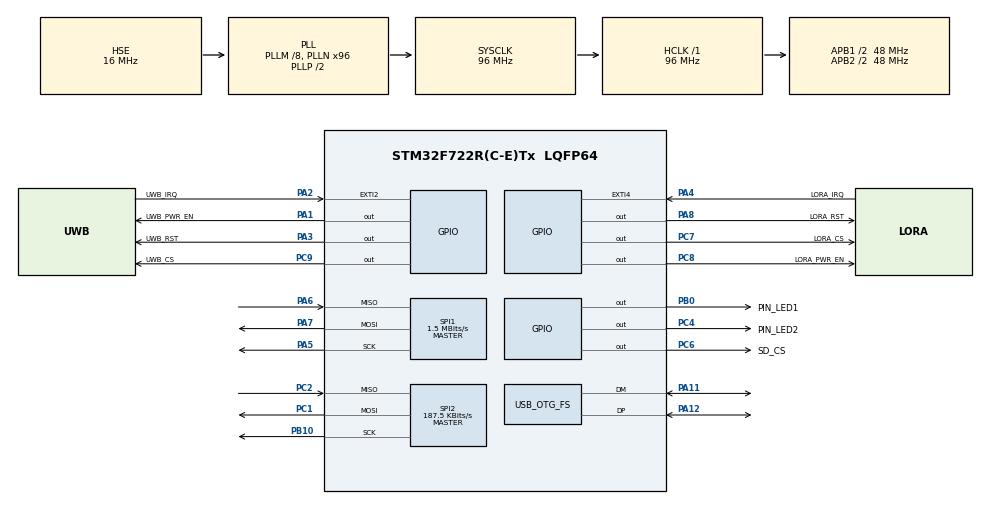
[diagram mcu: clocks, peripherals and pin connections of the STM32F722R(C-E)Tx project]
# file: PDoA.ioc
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Mcu.Family=STM32F7
Mcu.Name=STM32F722R(C-E)Tx
Mcu.Package=LQFP64
NVIC.EXTI2_IRQn=true\:0\:0\:false\:false\:true\:true\:true\:true
NVIC.EXTI4_IRQn=true\:0\:0\:false\:false\:true\:true\:true\:true
NVIC.OTG_FS_IRQn=true\:0\:0\:false\:false\:true\:false\:true\:true
NVIC.PriorityGroup=NVIC_PRIORITYGROUP_4
PA1.GPIO_Label=UWB_PWR_EN
PA1.Signal=GPIO_Output
PA11.Mode=Device_Only
PA11.Signal=USB_OTG_FS_DM
PA12.Mode=Device_Only
PA12.Signal=USB_OTG_FS_DP
PA13.Mode=Serial_Wire
PA13.Signal=SYS_JTMS-SWDIO
PA14.Mode=Serial_Wire
PA14.Signal=SYS_JTCK-SWCLK
PA2.GPIO_Label=UWB_IRQ
PA2.Signal=GPXTI2
PA3.GPIO_Label=UWB_RST
PA3.Signal=GPIO_Output
PA4.GPIO_Label=LORA_IRQ
PA4.GPIO_PuPd=GPIO_PULLDOWN
PA4.Signal=GPXTI4
PA5.Mode=Full_Duplex_Master
PA5.Signal=SPI1_SCK
PA6.Mode=Full_Duplex_Master
PA6.Signal=SPI1_MISO
PA7.Mode=Full_Duplex_Master
PA7.Signal=SPI1_MOSI
PA8.GPIO_Label=LORA_RST
PA8.PinState=GPIO_PIN_RESET
PA8.Signal=GPIO_Output
PB0.GPIO_Label=PIN_LED1
PB0.Signal=GPIO_Output
PB10.GPIO_PuPd=GPIO_PULLUP
PB10.Mode=Full_Duplex_Master
PB10.Signal=SPI2_SCK
PC1.GPIO_PuPd=GPIO_PULLUP
PC1.Mode=Full_Duplex_Master
PC1.Signal=SPI2_MOSI
PC14-OSC32_IN.Mode=LSE-External-Oscillator
PC14-OSC32_IN.Signal=RCC_OSC32_IN
PC15-OSC32_OUT.Mode=LSE-External-Oscillator
PC15-OSC32_OUT.Signal=RCC_OSC32_OUT
PC2.GPIO_PuPd=GPIO_PULLUP
PC2.Mode=Full_Duplex_Master
PC2.Signal=SPI2_MISO
PC4.GPIO_Label=PIN_LED2
PC4.Signal=GPIO_Output
PC6.GPIO_Label=SD_CS
PC6.GPIO_PuPd=GPIO_PULLUP
PC6.PinState=GPIO_PIN_SET
PC6.Signal=GPIO_Output
PC7.GPIO_Label=LORA_CS
PC7.PinState=GPIO_PIN_SET
PC7.Signal=GPIO_Output
PC8.GPIO_Label=LORA_PWR_EN
PC8.Signal=GPIO_Output
PC9.GPIO_Label=UWB_CS
PC9.PinState=GPIO_PIN_SET
PC9.Signal=GPIO_Output
PH0-OSC_IN.Mode=HSE-External-Oscillator
PH0-OSC_IN.Signal=RCC_OSC_IN
PH1-OSC_OUT.Mode=HSE-External-Oscillator
PH1-OSC_OUT.Signal=RCC_OSC_OUT
ProjectManager.HeapSize=0x200
ProjectManager.StackSize=0x400
ProjectManager.TargetToolchain=STM32CubeIDE
RCC.AHBFreq_Value=96000000
RCC.APB1CLKDivider=RCC_HCLK_DIV2
RCC.APB1Freq_Value=48000000
RCC.APB1TimFreq_Value=96000000
RCC.APB2CLKDivider=RCC_HCLK_DIV2
RCC.APB2Freq_Value=48000000
RCC.APB2TimFreq_Value=96000000
RCC.CortexFreq_Value=96000000
RCC.HCLKFreq_Value=96000000
RCC.HSE_VALUE=16000000
RCC.HSI_VALUE=16000000
RCC.PLLM=8
RCC.PLLN=96
RCC.PLLQ=4
RCC.PWREXT_OverDrive=PWREXT_OverDrive_ACTIVATED
RCC.PWR_Regulator_Voltage_Scale=PWR_REGULATOR_VOLTAGE_SCALE1
RCC.SYSCLKFreq_VALUE=96000000
RCC.SYSCLKSource=RCC_SYSCLKSOURCE_PLLCLK
RCC.USBFreq_Value=48000000
RCC.VCOOutputFreq_Value=192000000
SPI1.BaudRatePrescaler=SPI_BAUDRATEPRESCALER_32
SPI1.CalculateBaudRate=1.5 MBits/s
SPI1.DataSize=SPI_DATASIZE_8BIT
SPI1.Direction=SPI_DIRECTION_2LINES
SPI1.Mode=SPI_MODE_MASTER
SPI1.VirtualType=VM_MASTER
SPI2.BaudRatePrescaler=SPI_BAUDRATEPRESCALER_256
SPI2.CalculateBaudRate=187.5 KBits/s
SPI2.DataSize=SPI_DATASIZE_8BIT
SPI2.Direction=SPI_DIRECTION_2LINES
SPI2.Mode=SPI_MODE_MASTER
SPI2.VirtualType=VM_MASTER
USB_DEVICE.CLASS_NAME_FS=CDC
USB_DEVICE.VirtualMode-CDC_FS=Cdc
USB_DEVICE.VirtualModeFS=Cdc_FS
USB_OTG_FS.VirtualMode=Device_Only
VP_USB_DEVICE_VS_USB_DEVICE_CDC_FS.Mode=CDC_FS
board=custom

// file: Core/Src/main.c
/* USER CODE BEGIN Header */
/**
  ******************************************************************************
  * @file           : main.c
  * @brief          : Main program body
  ******************************************************************************
  * @attention
  *
  * Copyright (c) 2025 STMicroelectronics.
  * All rights reserved.
  *
  * This software is licensed under terms that can be found in the LICENSE file
  * in the root directory of this software component.
  * If no LICENSE file comes with this software, it is provided AS-IS.
  *
  ******************************************************************************
  */
/* USER CODE END Header */
#include <main.h>
#include "usb_device.h"

/* USER CODE BEGIN Includes */
#include <errno.h>

#include "PDoA_FZ.h"
#include "DW3000_FZ.h"
#include "DW3000_send_test_FZ.h"
#include "DW3000_recv_test_FZ.h"

/* USER CODE END Includes */

/* USER CODE BEGIN PTD */
/* Default communication configuration. We use default non-STS DW mode. */
static dwt_config_t config = {
  5,               /* Channel number. */
  DWT_PLEN_128,    /* Preamble length. Used in TX only. */
  DWT_PAC8,        /* Preamble acquisition chunk size. Used in RX only. */
  9,               /* TX preamble code. Used in TX only. */
  9,               /* RX preamble code. Used in RX only. */
  1,               /* 0 to use standard 8 symbol SFD, 1 to use non-standard 8 symbol, 2 for non-standard 16 symbol SFD and 3 for 4z 8 symbol SDF type */
  DWT_BR_6M8,      /* Data rate. */
  DWT_PHRMODE_STD, /* PHY header mode. */
  DWT_PHRRATE_STD, /* PHY header rate. */
  (129 + 8 - 8),   /* SFD timeout (preamble length + 1 + SFD length - PAC size). Used in RX only. */
  (DWT_STS_MODE_1 | DWT_STS_MODE_SDC),
  DWT_STS_LEN_256, /* STS length, see allowed values in Enum dwt_sts_lengths_e. USE 128 for PDoA mode 3 */
  DWT_PDOA_M3      /* PDOA mode 3 */
};

/* Buffer to store received frame. See NOTE 1 below. */
//static uint8_t rx_buffer[FRAME_LEN_MAX];

// https://gist.github.com/egnor/455d510e11c22deafdec14b09da5bf54
node_type current_node = rx_node; // current node type, default is TX node
//static uint8_t rx_buffer[FRAME_LEN_MAX];

/* Hold copy of status register state here for reference so that it can be examined at a debug breakpoint. */
uint32_t status_reg;
/* Hold copy of frame length of frame received (if good) so that it can be examined at a debug breakpoint. */
uint16_t frame_len;
/* USER CODE END PTD */

SPI_HandleTypeDef hspi1;
SPI_HandleTypeDef hspi2;

void SystemClock_Config(void);
static void MX_GPIO_Init(void);
static void MX_SPI1_Init(void);
static void MX_SPI2_Init(void);

/* USER CODE BEGIN PFP */
#define BIAS_CTRL_BIAS_MASK 0x1F

/* USER CODE END PFP */

/* USER CODE BEGIN 0 */
pdoa_role_t pdoa_role = PDOA_ROLE_ANCHOR;
// pdoa_role_t pdoa_role = PDOA_ROLE_TAG;

uint8_t     seq_num = 0;
uint8_t     pdoa_data2send[4] = {0, 1, 2, 3};
uint8_t     pdoa_datareceived[10] = {0};
/* USER CODE END 0 */

int main(void)
{

  /* MCU Configuration--------------------------------------------------------*/

  /* Reset of all peripherals, Initializes the Flash interface and the Systick. */
  HAL_Init();

  /* Configure the system clock */
  SystemClock_Config();

  /* Initialize all configured peripherals */
  MX_GPIO_Init();
  MX_SPI1_Init();
  MX_SPI2_Init();
  MX_USB_DEVICE_Init();
  /* USER CODE BEGIN 2 */
  HAL_Delay(10);

  DW3000poweron();
  HAL_Delay(10);     // wait for the DW3000 to power on and stabilize
  DW3000hardReset(); // with hard reset, no need for a softreset
  HAL_Delay(10);     // wait for the DW3000 to wake up

  set_SPI2lowspeed(&hspi1);
  HAL_GPIO_WritePin(GPIOC, PIN_LED2_Pin, GPIO_PIN_SET);
  HAL_Delay(10);     // wait for the DW3000 to wake up

  // Make sure the SPI is ready
  while(!(dwt_read32bitoffsetreg(SYS_STATUS_ID, 0) & SYS_STATUS_SPIRDY_BIT_MASK)) {
    HAL_Delay(10);
  }

  HAL_Delay(10);

  if(DW3000check_IDLE_RC()) {
    // DW3000enter_IDLE_PLL(); // enter PLL mode
    // HAL_Delay(10); // wait for the PLL to lock
  } else {
    while (1);
  }

  // test_run_info((unsigned char *)"IDLE OK\r\n");
  if (dwt_initialise(DWT_DW_INIT) == DWT_ERROR) {
	  printf("dwt_initialise error\r\n");
    while (100) {;}
  }

  dwt_setleds(DWT_LEDS_ENABLE | DWT_LEDS_INIT_BLINK);

  // Configure DW IC. See NOTE 5 below.
  // if the dwt_configure returns DWT_ERROR either the PLL or RX calibration has failed the host should reset the device
  if (dwt_configure(&config))  {
    printf("CONFIG FAILED\r\n");
    while (100) {;}
  }

  DW3000_irq_for_txrx_done();

  if(DW3000check_IDLE_RC()) {
    DW3000enter_IDLE_PLL(); // enter PLL mode
    HAL_Delay(10); // wait for the PLL to lock
  } else {
    while (1);
  }

  // wait until the PLL is locked and the DW3000 is in IDLE state
  // actually this is redundant since PLL lock means IDLE_PLL state
  if(DW3000check_IDLE_PLL() && DW3000check_IDLE()) {
    HAL_GPIO_WritePin(PIN_LED1_GPIO_Port, PIN_LED1_Pin, GPIO_PIN_SET);
  } else {
    HAL_GPIO_WritePin(PIN_LED1_GPIO_Port, PIN_LED1_Pin, GPIO_PIN_RESET);
    while (1);
  }
  set_SPI2highspeed(&hspi1);

  /* USER CODE END 2 */

  /* Infinite loop */
  /* USER CODE BEGIN WHILE */
  // uint16_t frame_len = 0;
 int16_t   pdoa_val  = 0;

  while (1)
  {
    // tag keeps transmitting, and anchor keeps listening and measuring PDoA
    if (pdoa_role == PDOA_ROLE_ANCHOR) {
      DW3000_clear_IRQ(); // clear the IRQ flags, reset the IRQ pin.
      DW3000_start_receiver_FZ(); // start the receiver

      while (!DW3000_IRQ_flag) {;}

      DW3000_IRQ_flag = false;

      int16_t cpqual;

      /* Checking STS quality see note 4 */
      if (dwt_readstsquality(&cpqual) >= 0) {
        pdoa_val = dwt_readpdoa();
        float pdoa_deg = ((float)pdoa_val / (1 << 11)) * 180 / M_PI;
        printf("%f\n", pdoa_deg);
      } else {
    	printf("Bad STS quality...\r\n");
      }

      uint32_t current_status = DW3000readreg(SYS_STATUS_ID, 4);

      if (current_status & SYS_STATUS_RXFR_BIT_MASK) {
        DW3000_clear_IRQ();
        dwt_write32bitreg(SYS_STATUS_ID, SYS_STATUS_RXFCG_BIT_MASK);
      } else {
        DW3000_clear_IRQ();
      }
    }
    else {
      DW3000_clear_IRQ(); // clear the IRQ flags, reset the IRQ pin.
      DW3000_writetxdata_FZ(pdoa_data2send, sizeof(pdoa_data2send));
      dwt_writetxfctrl(6, 0, 0); /* Zero offset in TX buffer, no ranging. */
      DW3000_txcmd_FZ(0);

      // wait for the IRQ to be triggered
      while (!DW3000_IRQ_flag) {;}

      DW3000_IRQ_flag = false; // reset the flag
      uint32_t current_status = DW3000readreg(SYS_STATUS_ID, 4);

      if (current_status & SYS_STATUS_TXFRS_BIT_MASK) {
//        printf("TX done\r\n");
        DW3000_clear_IRQ();
        HAL_Delay(200);
      } else {
//        printf("TX failed, SYS_STATUS: 0x%08lX\r\n", current_status);
        // clear the IRQ flags
        DW3000_clear_IRQ();
        // HAL_GPIO_WritePin(GPIOC, PIN_LED2_Pin, GPIO_PIN_RESET);
        HAL_Delay(200);
      }
    }
    /* USER CODE END WHILE */

  }
}

void SystemClock_Config(void)
{
  RCC_OscInitTypeDef RCC_OscInitStruct = {0};
  RCC_ClkInitTypeDef RCC_ClkInitStruct = {0};

  /** Configure LSE Drive Capability
  */
  HAL_PWR_EnableBkUpAccess();

  /** Configure the main internal regulator output voltage
  */
  __HAL_RCC_PWR_CLK_ENABLE();
  __HAL_PWR_VOLTAGESCALING_CONFIG(PWR_REGULATOR_VOLTAGE_SCALE1);

  /** Initializes the RCC Oscillators according to the specified parameters
  * in the RCC_OscInitTypeDef structure.
  */
  RCC_OscInitStruct.OscillatorType = RCC_OSCILLATORTYPE_HSE;
  RCC_OscInitStruct.HSEState = RCC_HSE_ON;
  RCC_OscInitStruct.PLL.PLLState = RCC_PLL_ON;
  RCC_OscInitStruct.PLL.PLLSource = RCC_PLLSOURCE_HSE;
  RCC_OscInitStruct.PLL.PLLM = 8;
  RCC_OscInitStruct.PLL.PLLN = 96;
  RCC_OscInitStruct.PLL.PLLP = RCC_PLLP_DIV2;
  RCC_OscInitStruct.PLL.PLLQ = 4;
  if (HAL_RCC_OscConfig(&RCC_OscInitStruct) != HAL_OK)
  {
    Error_Handler();
  }

  /** Activate the Over-Drive mode
  */
  if (HAL_PWREx_EnableOverDrive() != HAL_OK)
  {
    Error_Handler();
  }

  /** Initializes the CPU, AHB and APB buses clocks
  */
  RCC_ClkInitStruct.ClockType = RCC_CLOCKTYPE_HCLK|RCC_CLOCKTYPE_SYSCLK
                              |RCC_CLOCKTYPE_PCLK1|RCC_CLOCKTYPE_PCLK2;
  RCC_ClkInitStruct.SYSCLKSource = RCC_SYSCLKSOURCE_PLLCLK;
  RCC_ClkInitStruct.AHBCLKDivider = RCC_SYSCLK_DIV1;
  RCC_ClkInitStruct.APB1CLKDivider = RCC_HCLK_DIV2;
  RCC_ClkInitStruct.APB2CLKDivider = RCC_HCLK_DIV2;

  if (HAL_RCC_ClockConfig(&RCC_ClkInitStruct, FLASH_LATENCY_3) != HAL_OK)
  {
    Error_Handler();
  }
}

static void MX_SPI1_Init(void)
{

  /* SPI1 parameter configuration*/
  hspi1.Instance = SPI1;
  hspi1.Init.Mode = SPI_MODE_MASTER;
  hspi1.Init.Direction = SPI_DIRECTION_2LINES;
  hspi1.Init.DataSize = SPI_DATASIZE_8BIT;
  hspi1.Init.CLKPolarity = SPI_POLARITY_LOW;
  hspi1.Init.CLKPhase = SPI_PHASE_1EDGE;
  hspi1.Init.NSS = SPI_NSS_SOFT;
  hspi1.Init.BaudRatePrescaler = SPI_BAUDRATEPRESCALER_32;
  hspi1.Init.FirstBit = SPI_FIRSTBIT_MSB;
  hspi1.Init.TIMode = SPI_TIMODE_DISABLE;
  hspi1.Init.CRCCalculation = SPI_CRCCALCULATION_DISABLE;
  hspi1.Init.CRCPolynomial = 7;
  hspi1.Init.CRCLength = SPI_CRC_LENGTH_DATASIZE;
  hspi1.Init.NSSPMode = SPI_NSS_PULSE_ENABLE;
  if (HAL_SPI_Init(&hspi1) != HAL_OK)
  {
    Error_Handler();
  }

}

static void MX_SPI2_Init(void)
{

  /* SPI2 parameter configuration*/
  hspi2.Instance = SPI2;
  hspi2.Init.Mode = SPI_MODE_MASTER;
  hspi2.Init.Direction = SPI_DIRECTION_2LINES;
  hspi2.Init.DataSize = SPI_DATASIZE_8BIT;
  hspi2.Init.CLKPolarity = SPI_POLARITY_LOW;
  hspi2.Init.CLKPhase = SPI_PHASE_1EDGE;
  hspi2.Init.NSS = SPI_NSS_SOFT;
  hspi2.Init.BaudRatePrescaler = SPI_BAUDRATEPRESCALER_256;
  hspi2.Init.FirstBit = SPI_FIRSTBIT_MSB;
  hspi2.Init.TIMode = SPI_TIMODE_DISABLE;
  hspi2.Init.CRCCalculation = SPI_CRCCALCULATION_DISABLE;
  hspi2.Init.CRCPolynomial = 7;
  hspi2.Init.CRCLength = SPI_CRC_LENGTH_DATASIZE;
  hspi2.Init.NSSPMode = SPI_NSS_PULSE_ENABLE;
  if (HAL_SPI_Init(&hspi2) != HAL_OK)
  {
    Error_Handler();
  }

}

static void MX_GPIO_Init(void)
{
  GPIO_InitTypeDef GPIO_InitStruct = {0};

  /* GPIO Ports Clock Enable */
  __HAL_RCC_GPIOC_CLK_ENABLE();
  __HAL_RCC_GPIOH_CLK_ENABLE();
  __HAL_RCC_GPIOA_CLK_ENABLE();
  __HAL_RCC_GPIOB_CLK_ENABLE();

  /*Configure GPIO pin Output Level */
  HAL_GPIO_WritePin(GPIOA, UWB_PWR_EN_Pin|UWB_RST_Pin|LORA_RST_Pin, GPIO_PIN_RESET);

  /*Configure GPIO pin Output Level */
  HAL_GPIO_WritePin(GPIOC, PIN_LED2_Pin|LORA_PWR_EN_Pin, GPIO_PIN_RESET);

  /*Configure GPIO pin Output Level */
  HAL_GPIO_WritePin(PIN_LED1_GPIO_Port, PIN_LED1_Pin, GPIO_PIN_RESET);

  /*Configure GPIO pin Output Level */
  HAL_GPIO_WritePin(GPIOC, SD_CS_Pin|LORA_CS_Pin|UWB_CS_Pin, GPIO_PIN_SET);

  /*Configure GPIO pins : UWB_PWR_EN_Pin UWB_RST_Pin LORA_RST_Pin */
  GPIO_InitStruct.Pin = UWB_PWR_EN_Pin|UWB_RST_Pin|LORA_RST_Pin;
  GPIO_InitStruct.Mode = GPIO_MODE_OUTPUT_PP;
  GPIO_InitStruct.Pull = GPIO_NOPULL;
  GPIO_InitStruct.Speed = GPIO_SPEED_FREQ_LOW;
  HAL_GPIO_Init(GPIOA, &GPIO_InitStruct);

  /*Configure GPIO pin : UWB_IRQ_Pin */
  GPIO_InitStruct.Pin = UWB_IRQ_Pin;
  GPIO_InitStruct.Mode = GPIO_MODE_IT_RISING;
  GPIO_InitStruct.Pull = GPIO_NOPULL;
  HAL_GPIO_Init(UWB_IRQ_GPIO_Port, &GPIO_InitStruct);

  /*Configure GPIO pin : LORA_IRQ_Pin */
  GPIO_InitStruct.Pin = LORA_IRQ_Pin;
  GPIO_InitStruct.Mode = GPIO_MODE_IT_RISING;
  GPIO_InitStruct.Pull = GPIO_PULLDOWN;
  HAL_GPIO_Init(LORA_IRQ_GPIO_Port, &GPIO_InitStruct);

  /*Configure GPIO pins : PIN_LED2_Pin LORA_CS_Pin LORA_PWR_EN_Pin UWB_CS_Pin */
  GPIO_InitStruct.Pin = PIN_LED2_Pin|LORA_CS_Pin|LORA_PWR_EN_Pin|UWB_CS_Pin;
  GPIO_InitStruct.Mode = GPIO_MODE_OUTPUT_PP;
  GPIO_InitStruct.Pull = GPIO_NOPULL;
  GPIO_InitStruct.Speed = GPIO_SPEED_FREQ_LOW;
  HAL_GPIO_Init(GPIOC, &GPIO_InitStruct);

  /*Configure GPIO pin : PIN_LED1_Pin */
  GPIO_InitStruct.Pin = PIN_LED1_Pin;
  GPIO_InitStruct.Mode = GPIO_MODE_OUTPUT_PP;
  GPIO_InitStruct.Pull = GPIO_NOPULL;
  GPIO_InitStruct.Speed = GPIO_SPEED_FREQ_LOW;
  HAL_GPIO_Init(PIN_LED1_GPIO_Port, &GPIO_InitStruct);

  /*Configure GPIO pin : SD_CS_Pin */
  GPIO_InitStruct.Pin = SD_CS_Pin;
  GPIO_InitStruct.Mode = GPIO_MODE_OUTPUT_PP;
  GPIO_InitStruct.Pull = GPIO_PULLUP;
  GPIO_InitStruct.Speed = GPIO_SPEED_FREQ_LOW;
  HAL_GPIO_Init(SD_CS_GPIO_Port, &GPIO_InitStruct);

  /* EXTI interrupt init*/
  HAL_NVIC_SetPriority(EXTI2_IRQn, 0, 0);
  HAL_NVIC_EnableIRQ(EXTI2_IRQn);

  HAL_NVIC_SetPriority(EXTI4_IRQn, 0, 0);
  HAL_NVIC_EnableIRQ(EXTI4_IRQn);

}

void Error_Handler(void)
{
  __disable_irq();
  while (1)
  {
  }
}
